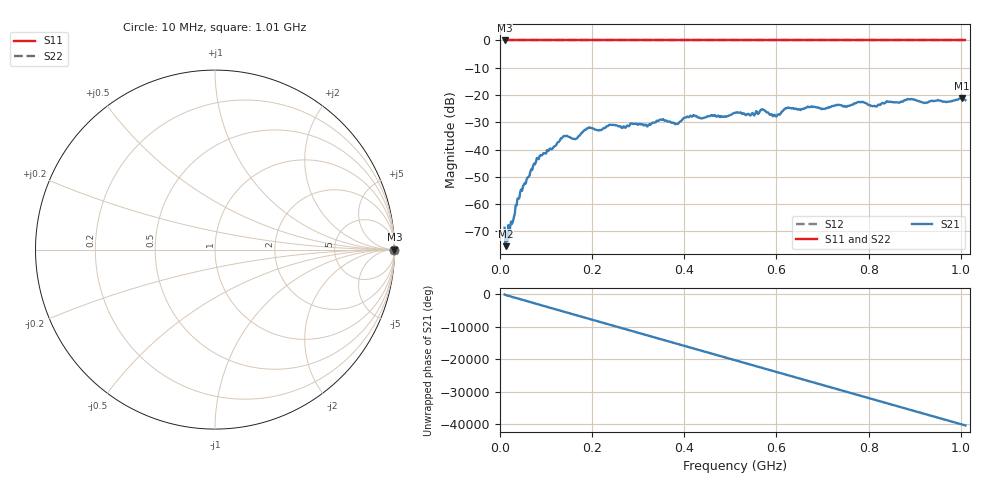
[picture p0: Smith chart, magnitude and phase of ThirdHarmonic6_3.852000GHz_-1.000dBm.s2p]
! 8/17/2025 1:26:37 PM
! C:\ANRITSUVNA\TEMP\TEMP.S2P
! CHANNEL.1
! TR.MEASUREMENT
! RAW.DATA
! RF.CORRECTION.OFF
! AVERAGING.OFF
! IF.BANDWIDTH: 5KHZ
! SWEEPTYPE:  FREQ.SWEEP(Linear)
! Reference Plane Port Info
! PORT:  PORT1  PORT2
! DISTANCE:  0  m  0  m
! TIME:  0  s  0  s
! PHASE.OFFSET:  0  deg.  0  deg.
! LOSS:  0  dB  0  dB
! REF.LOSS:  0  dB  0  dB
! REF.FREQ:  0  Hz  0  Hz
! Power Info
! POWER:  -20  dBm  -20  dBm
! EFF.POWER:  -20  dBm  -20  dBm
! SOURCE.ATTEN:  0  dB  0  dB
! TEST.ATTEN:  0  dB  0  dB
# GHZ S RI R 50.0
! FREQ.GHZ  S11RE  S11IM  S21RE  S21IM  S12RE  S12IM  S22RE  S22IM
!; PortSelection: Port_12
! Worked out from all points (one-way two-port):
!   501 points, 10 MHz to 1.01 GHz, reference 50 ohm
!   highest |S21| = -21.18 dB at 1.002 GHz (marker M1); lowest = -75.4 dB at 12 MHz (marker M2)
!   lowest |S11| = 0.0 dB at 10 MHz (marker M3)
!   |S11| at or under -10 dB: nowhere
!   |S22| runs from 0.0 to 0.0 dB; largest |S21 - S12| = 1.1
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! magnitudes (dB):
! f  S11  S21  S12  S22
! 10 MHz  0.0  -68.7  0.0  0.0
! 12 MHz  0.0  -75.4  0.0  0.0
! 16 MHz  0.0  -73.5  0.0  0.0
! 24 MHz  0.0  -66.4  0.0  0.0
! 48 MHz  0.0  -55.1  0.0  0.0
! 84 MHz  0.0  -43.5  0.0  0.0
! 136 MHz  0.0  -35.5  0.0  0.0
! 164 MHz  0.0  -36.1  0.0  0.0
! 178 MHz  0.0  -33.8  0.0  0.0
! 194 MHz  0.0  -31.9  0.0  0.0
! 322 MHz  0.0  -31.0  0.0  0.0
! 344 MHz  0.0  -29.5  0.0  0.0
! 384 MHz  0.0  -30.6  0.0  0.0
! 416 MHz  0.0  -27.9  0.0  0.0
! 510 MHz  0.0  -26.6  0.0  0.0
! 570 MHz  0.0  -25.3  0.0  0.0
! 596 MHz  0.0  -27.3  0.0  0.0
! 622 MHz  0.0  -24.9  0.0  0.0
! 678 MHz  0.0  -24.3  0.0  0.0
! 844 MHz  0.0  -22.6  0.0  0.0
! 1.002 GHz  0.0  -21.2  0.0  0.0
! 1.01 GHz  0.0  -21.9  0.0  0.0
